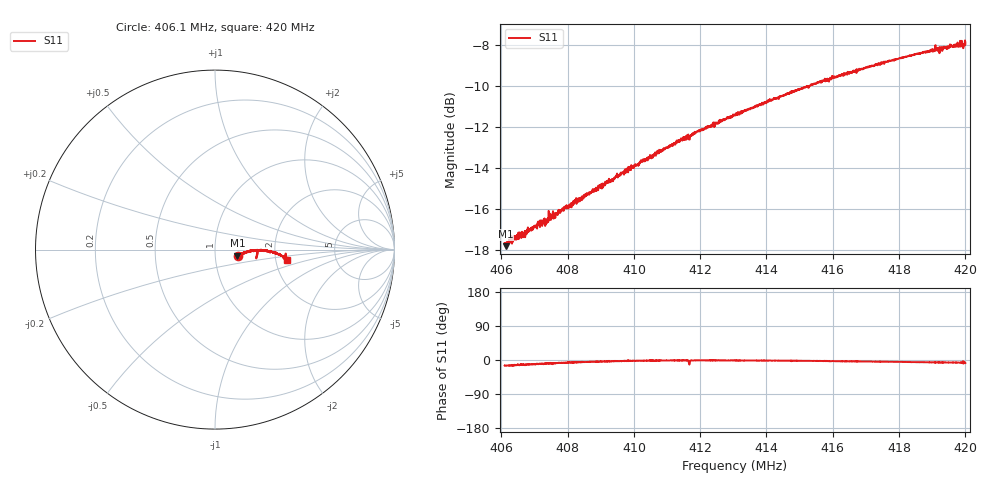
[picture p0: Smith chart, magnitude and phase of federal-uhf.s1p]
! Calibrated averaged scanner-service zoom
# Hz S RI R 50
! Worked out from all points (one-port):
!   2001 points, 406.1 MHz to 420 MHz, reference 50 ohm
!   lowest |S11| = -17.8 dB at 406.13 MHz (marker M1), VSWR 1.30, Z = 64.1 - j4.37 ohm
!   |S11| at or under -10 dB: start of sweep to 415.22 MHz; 415.239 MHz to 415.2805 MHz (41.51 kHz wide, 0.01 % of centre); 415.282 MHz to 415.2919 MHz (9.902 kHz wide, 0.00238 % of centre)
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4.061e8  0.1267 -0.0333
4.061278e8  0.1245 -0.0336
4.064475e8  0.131 -0.0316
4.067116e8  0.1371 -0.0306
4.071564e8  0.1437 -0.0247
4.073302e8  0.1444 -0.0268
4.07497e8  0.151 -0.0251
4.07636e8  0.1521 -0.022
4.078375e8  0.1576 -0.0199
4.09575e8  0.1922 -0.0104
4.10131e8  0.2024 -0.00708
4.102422e8  0.2068 -0.00805
4.113125e8  0.2307 -0.00258
4.115696e8  0.2364 -0.00453
4.116252e8  0.2392 -0.00688
4.116948e8  0.2376 -0.0174
4.117295e8  0.2397 -0.00468
4.117782e8  0.2412 -0.00381
4.1305e8  0.2701 -0.0052
4.147875e8  0.3061 -0.00939
4.159829e8  0.3317 -0.0171
4.16525e8  0.3415 -0.0227
4.182625e8  0.3728 -0.0343
4.191312e8  0.3881 -0.0406
4.192633e8  0.3873 -0.0452
4.195274e8  0.3912 -0.0453
4.19861e8  0.3917 -0.049
4.2e8  0.4001 -0.0557
